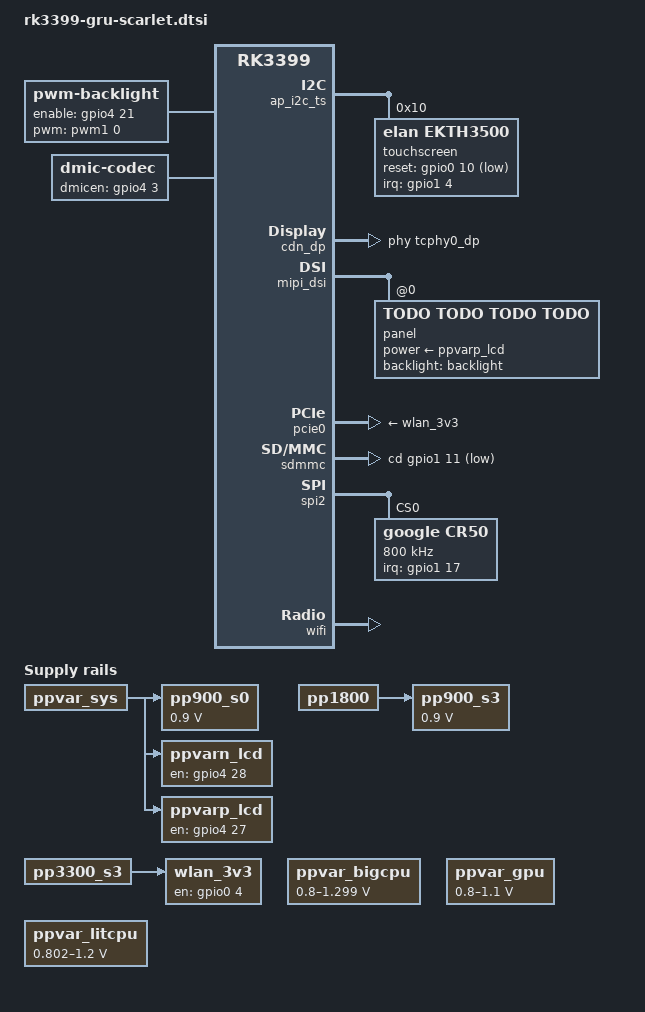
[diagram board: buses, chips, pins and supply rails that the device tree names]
/*
 * Google Gru-scarlet board device tree source
 *
 * Copyright 2017 Google, Inc
 *
 * This file is dual-licensed: you can use it either under the terms
 * of the GPL or the X11 license, at your option. Note that this dual
 * licensing only applies to this file, and not this project as a
 * whole.
 *
 *  a) This file is free software; you can redistribute it and/or
 *     modify it under the terms of the GNU General Public License as
 *     published by the Free Software Foundation; either version 2 of the
 *     License, or (at your option) any later version.
 *
 *     This file is distributed in the hope that it will be useful,
 *     but WITHOUT ANY WARRANTY; without even the implied warranty of
 *     MERCHANTABILITY or FITNESS FOR A PARTICULAR PURPOSE.  See the
 *     GNU General Public License for more details.
 *
 *  Or, alternatively,
 *
 *  b) Permission is hereby granted, free of charge, to any person
 *     obtaining a copy of this software and associated documentation
 *     files (the "Software"), to deal in the Software without
 *     restriction, including without limitation the rights to use,
 *     copy, modify, merge, publish, distribute, sublicense, and/or
 *     sell copies of the Software, and to permit persons to whom the
 *     Software is furnished to do so, subject to the following
 *     conditions:
 *
 *     The above copyright notice and this permission notice shall be
 *     included in all copies or substantial portions of the Software.
 *
 *     THE SOFTWARE IS PROVIDED "AS IS", WITHOUT WARRANTY OF ANY KIND,
 *     EXPRESS OR IMPLIED, INCLUDING BUT NOT LIMITED TO THE WARRANTIES
 *     OF MERCHANTABILITY, FITNESS FOR A PARTICULAR PURPOSE AND
 *     NONINFRINGEMENT. IN NO EVENT SHALL THE AUTHORS OR COPYRIGHT
 *     HOLDERS BE LIABLE FOR ANY CLAIM, DAMAGES OR OTHER LIABILITY,
 *     WHETHER IN AN ACTION OF CONTRACT, TORT OR OTHERWISE, ARISING
 *     FROM, OUT OF OR IN CONNECTION WITH THE SOFTWARE OR THE USE OR
 *     OTHER DEALINGS IN THE SOFTWARE.
 */

#include "rk3399-gru.dtsi"

/{
	/* REGULATORS */

	/* ppvar_sys children, sorted by name */
	pp900_s0: pp900-s0 {
		compatible = "regulator-fixed";
		regulator-name = "pp900_s0";

		/* EC turns on w/ pp900_s0_en; always on for AP */
		regulator-always-on;
		regulator-boot-on;

		regulator-min-microvolt = <900000>;
		regulator-max-microvolt = <900000>;

		vin-supply = <&ppvar_sys>;
	};

	ppvarn_lcd: ppvarn-lcd {
		compatible = "regulator-fixed";
		regulator-name = "ppvarn_lcd";
		pinctrl-names = "default";
		pinctrl-0 = <&ppvarn_lcd_en>;

		enable-active-high;

		gpio = <&gpio4 28 GPIO_ACTIVE_HIGH>;
		vin-supply = <&ppvar_sys>;
	};

	ppvarp_lcd: ppvarp-lcd {
		compatible = "regulator-fixed";
		regulator-name = "ppvarp_lcd";
		pinctrl-names = "default";
		pinctrl-0 = <&ppvarp_lcd_en>;

		enable-active-high;

		gpio = <&gpio4 27 GPIO_ACTIVE_HIGH>;
		vin-supply = <&ppvar_sys>;
	};

	/* pp1800 children, sorted by name */
	pp900_s3: pp900-s3 {
		compatible = "regulator-fixed";
		regulator-name = "pp900_s3";

		/* EC turns on w/ pp900_s3_en; always on for AP */
		regulator-always-on;
		regulator-boot-on;

		regulator-min-microvolt = <900000>;
		regulator-max-microvolt = <900000>;

		vin-supply = <&pp1800>;
	};

	/* EC turns on pp1800_s3_en */
	pp1800_s3: pp1800 {
	};

	/* EC turns on pp3300_s3_en */
	pp3300_s3: pp3300 {
	};

	wlan_3v3: wlan-3v3 {
		compatible = "regulator-fixed";
		regulator-name = "wlan_3v3";

		/* Note the wlan_pd_1v8_l pinctrl */
		enable-active-high;
		gpio = <&gpio0 4 GPIO_ACTIVE_HIGH>;
		/*
		 * Require minimum 10ms from power-on (e.g., PD#) to init PCIe.
		 * TODO (b/64444991): how long to assert PD#?
		 */
		regulator-enable-ramp-delay = <10000>;
		vin-supply = <&pp3300_s3>;
	};

	/* END REGULATORS */

	/* MISC */
	backlight: backlight {
		compatible = "pwm-backlight";
		brightness-levels-scale = <0x10000>;
		default-brightness-level = <0x828f>; /* arbitrary, ~51% */
		enable-gpios = <&gpio4 21 GPIO_ACTIVE_HIGH>;
		backlight-boot-off;
		pinctrl-names = "default";
		pinctrl-0 = <&bl_en>;
		pwms = <&pwm1 0 1000000 0>;
		pwm-delay-us = <10000>;
	};

	dmic: dmic {
		compatible = "dmic-codec";
		pinctrl-names = "default";
		pinctrl-0 = <&dmic_en>;

		dmicen-gpios = <&gpio4 3 GPIO_ACTIVE_HIGH>;
	};
};

/* REGULATOR OVERRIDES (node deletions first) */

/* On scarlet there's no exact pp900_ap; instead there is pp900_s0 / pp900_s3 */
/delete-node/ &pp900_ap;

/* Scarlet doesn't have variable centerlogic; folded into pp900_s0 */
/delete-node/ &ppvar_centerlogic;

/* No more "logic en" pin for turning this on; folded into pp900_s0 */
/delete-node/ &ppvar_logic;

/delete-node/ &pp1800_audio;
/delete-node/ &pp1800_pcie;
/delete-node/ &pp3000;
/delete-node/ &pp1500_ap_io;
/delete-node/ &pp3300_disp;
/delete-node/ &pp3300_wifi_bt;
/delete-node/ &wlan_pd_n;

/* pp900_s0 aliases */
pp900_pcie: &pp900_s0 {
};
pp900_usb: &pp900_s0 {
};
pp900_ddrpll_ap: &pp900_s0 {
};

/* pp900_s3 aliases */
pp900_emmcpll: &pp900_s3 {
};

/* EC turns on; alias for pp1800_s0 */
pp1800_pcie: &pp1800_s0 {
};

/* On scarlet PPVAR(big_cpu, lit_cpu, gpu) need to adjust voltage ranges */
&ppvar_bigcpu {
	/* No pesky OVP here. */
	/delete-property/ slowest-decay-rate;
	/delete-property/ safe-fall-percent;

	/* On scarlet ppvar big cpu use pwm3 */
	pwms = <&pwm3 0 3337 0>;
	regulator-min-microvolt = <800074>;
	regulator-max-microvolt = <1299226>;
};

&ppvar_gpu {
	/* No pesky OVP here. */
	/delete-property/ slowest-decay-rate;
	/delete-property/ safe-fall-percent;

	regulator-min-microvolt = <799600>;
	regulator-max-microvolt = <1099600>;
};

&ppvar_litcpu {
	/* No pesky OVP here. */
	/delete-property/ slowest-decay-rate;
	/delete-property/ safe-fall-percent;

	regulator-min-microvolt = <802122>;
	regulator-max-microvolt = <1199620>;
};

&ppvar_sd_card_io {
	states = <1800000 0x0 3300000 0x1>;
	regulator-max-microvolt = <3300000>;
};

&pp3000_sd_slot {
	vin-supply = <&pp3300>;
};

/* MISC OVERRIDES (node deletions first) */
/delete-node/ &cros_ec_pwm;

/* No rt5514 */
/delete-node/ &headsetcodec;

/* No rt5514 */
/delete-node/ &wacky_spi_audio;

/delete-node/ &mvl_wifi;

&ap_i2c_mic {
	status = "disabled";
};

&ap_i2c_tp {
	status = "disabled";
};

&ap_i2c_ts {
	touchscreen: touchscreen@10 {
		compatible = "elan,ekth3500";
		reg = <0x10>;

		pinctrl-names = "default";
		pinctrl-0 = <&touch_int_l &touch_reset_l>;

		interrupt-parent = <&gpio1>;
		interrupts = <4 IRQ_TYPE_LEVEL_LOW>;

		reset-gpios = <&gpio0 10 GPIO_ACTIVE_LOW>;
	};
};

&cdn_dp {
	extcon = <&usbc_extcon0>;
	phys = <&tcphy0_dp>;
};

&cros_ec {
	interrupt-parent = <&gpio1>;
	interrupts = <18 IRQ_TYPE_LEVEL_LOW>;
};

/* The center supply is fixed to .9V on scarlet */
&dmc {
	center-supply = <&pp900_s0>;
};

/* We don't need .925 V for 928 MHz on scarlet */
&dmc_opp_table {
	opp03 {
		opp-microvolt = <900000>;
	};
};

&ec_ap_int_l {
	rockchip,pins = <1 18 RK_FUNC_GPIO &pcfg_pull_up>;
};

&firmware {
	chromeos {
		write-protect-gpio = <&gpio0 13 GPIO_ACTIVE_HIGH>;
	};
};

&i2c_tunnel {
	google,remote-bus = <0>;
};

&io_domains {
	bt656-supply = <&pp1800_s0>;		/* APIO2_VDD;  2a 2b */
	audio-supply = <&pp1800_s0>;		/* APIO5_VDD;  3d 4a */
	gpio1830-supply = <&pp1800_s0>;		/* APIO4_VDD;  4c 4d */
};

&max98357a {
	sdmode-gpios = <&gpio0 2 GPIO_ACTIVE_HIGH>;
};

&mipi_dsi {
	panel {
		compatible = "TODO TODO TODO TODO";
		reg = <0>;
		backlight = <&backlight>;
		power-supply = <&ppvarp_lcd>, <&ppvarn_lcd>;
	};
};

&pcie0 {
	ep-gpios = <&gpio0 3 GPIO_ACTIVE_HIGH>;

	vpcie3v3-supply = <&wlan_3v3>;
	vpcie1v8-supply = <&pp1800_pcie>;
};

&sdmmc {
	cd-gpios = <&gpio1 11 GPIO_ACTIVE_LOW>;
};

&sound {
	rockchip,codec = <&max98357a &dmic &codec &cdn_dp>;
};

&spi2 {
	status = "okay";

	cr50@0 {
		compatible = "google,cr50";

		interrupt-parent = <&gpio1>;
		interrupts = <17 IRQ_TYPE_EDGE_RISING>;

		pinctrl-names = "default";
		pinctrl-0 = <&h1_int_od_l>;

		reg = <0>;
		spi-max-frequency = <800000>;
	};
};

&tcphy1 {
	status = "disabled";
};

&usbc_extcon1 {
	status = "disabled";
};

&usbdrd3_1 {
	status = "disabled";
};

&usbdrd_dwc3_1 {
	status = "disabled";
};

&wake_on_bt {
	gpios = <&gpio1 2 GPIO_ACTIVE_LOW>;
};

/* PINCTRL OVERRIDES */
&ap_fw_wp {
	rockchip,pins = <0 13 RK_FUNC_GPIO &pcfg_pull_up>;
};

&bl_en {
	rockchip,pins = <4 21 RK_FUNC_GPIO &pcfg_pull_none>;
};

&bt_host_wake_l {
	rockchip,pins = <1 2 RK_FUNC_GPIO &pcfg_pull_up>;
};

&ec_ap_int_l {
	rockchip,pins = <1 18 RK_FUNC_GPIO &pcfg_pull_up>;
};

&h1_int_od_l {
	rockchip,pins = <1 17 RK_FUNC_GPIO &pcfg_pull_up>;
};

&headset_int_l {
	rockchip,pins = <1 23 RK_FUNC_GPIO &pcfg_pull_up>;
};

/* there is no external pull up, so need to set this pin pull up */
&sdmmc_cd_gpio {
	rockchip,pins = <1 11 RK_FUNC_GPIO &pcfg_pull_up>;
};

&sd_pwr_1800_sel {
	rockchip,pins = <2 28 RK_FUNC_GPIO &pcfg_pull_up>;
};

&sdmode_en {
	rockchip,pins = <0 2 RK_FUNC_GPIO &pcfg_pull_down>;
};

&touch_reset_l {
	rockchip,pins = <0 10 RK_FUNC_GPIO &pcfg_pull_down>;
};

&touch_int_l {
	rockchip,pins = <1 4 RK_FUNC_GPIO &pcfg_pull_down>;
};

&wlan_host_wake_l {
	rockchip,pins = <1 3 RK_FUNC_GPIO &pcfg_pull_up>;
};

&wifi_perst_l {
	rockchip,pins = <0 3 RK_FUNC_GPIO &pcfg_pull_none>;
};

/delete-node/ &pp1800_audio_en;
/delete-node/ &pp1500_en;
/delete-node/ &pp3300_disp_en;
/delete-node/ &pp3000_en;
/delete-node/ &wlan_module_pd_l;

&pinctrl {
	pinctrl-0 = <
		&ap_pwroff	/* AP will auto-assert this when in S3 */
		&bt_rf_kill_1v8_l
		&clk_32k	/* This pin is always 32k on gru boards */
		&wlan_pd_1v8_l	/* Drive this low ASAP */
		&wlan_rf_kill_1v8_l
	>;

	dmic {
		dmic_en: dmic-en {
			rockchip,pins = <4 3 RK_FUNC_GPIO &pcfg_pull_none>;
		};
	};
};

&discrete_regulators {
	ppvarp_lcd_en: ppvarp-lcd-en {
		rockchip,pins = <4 27 RK_FUNC_GPIO &pcfg_pull_none>;
	};

	ppvarn_lcd_en: ppvarn-lcd-en {
		rockchip,pins = <4 28 RK_FUNC_GPIO &pcfg_pull_none>;
	};
};

&wifi {
	/* Default pull-up, but just to be clear */
	bt_rf_kill_1v8_l: bt-rf-kill-1v8-l {
		rockchip,pins = <0 8 RK_FUNC_GPIO &pcfg_pull_up>;
	};

	wlan_pd_1v8_l: wlan-pd-1v8-l {
		rockchip,pins = <0 4 RK_FUNC_GPIO &pcfg_output_low>;
	};

	/* Default pull-up, but just to be clear */
	wlan_rf_kill_1v8_l: wlan-rf-kill-1v8-l {
		rockchip,pins = <0 5 RK_FUNC_GPIO &pcfg_pull_up>;
	};
};
